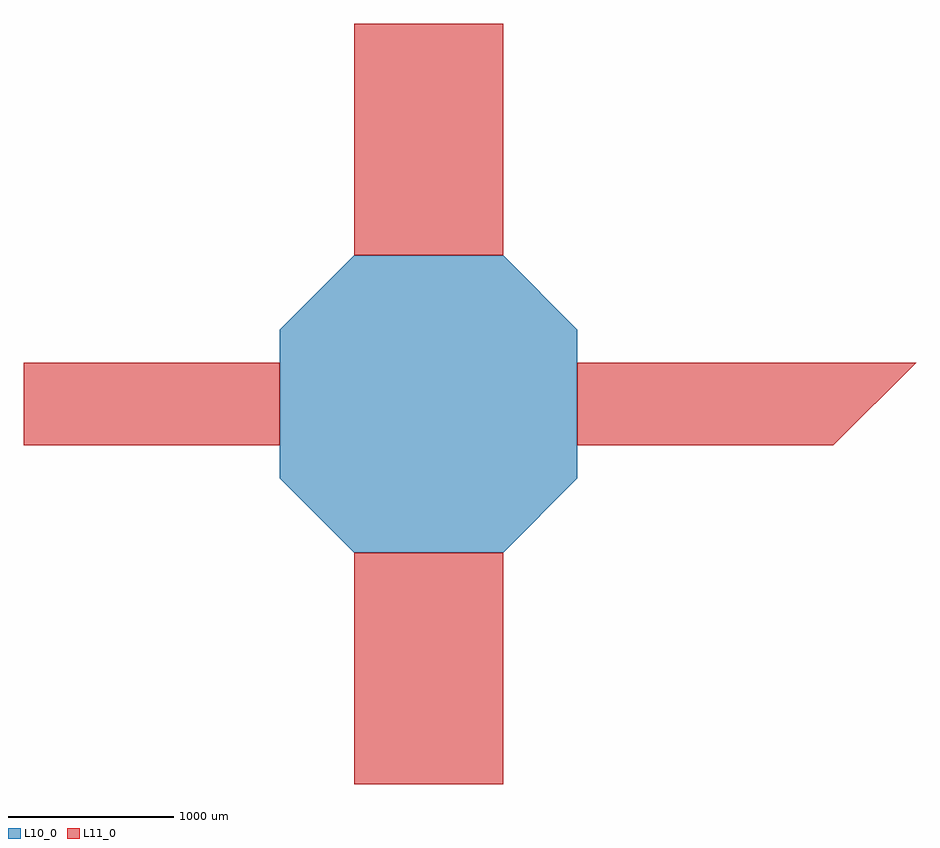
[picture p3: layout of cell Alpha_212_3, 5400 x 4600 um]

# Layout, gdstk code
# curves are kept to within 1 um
import gdstk
lib = gdstk.Library(unit=1e-6, precision=1e-09)
def R(c, l, rs):  # rectangles x0, y0, x1, y1
    for r in rs: c.add(gdstk.rectangle(r[:2], r[2:], *l))
def P(c, l, *ps):  # polygons
    for p in ps: c.add(gdstk.Polygon(p, *l))
L1_0 = (1, 0)
L10_0 = (10, 0)
L11_0 = (11, 0)

alpha_212_3 = lib.new_cell('Alpha_212_3')
P(alpha_212_3, L10_0, [(-450,900),(450,900),(900,450),(900,-450),(450,-900),(-450,-900),(-900,-450),(-900,450)],
  [(850,80),(830,170),(790,330),(710,470),(660,540),(540,660),(470,710),(330,790),(250,810),(170,840),(80,850),(-80,850),(-170,840),(-250,810),(-330,790),(-470,710),(-540,660),(-660,540),(-710,470),(-790,330),(-810,250),(-840,170),(-850,80),(-850,-80),(-840,-170),(-810,-250),(-790,-330),(-710,-470),(-660,-540),(-540,-660),(-470,-710),(-330,-790),(-250,-810),(-170,-840),(-80,-850),(80,-850),(170,-840),(250,-810),(330,-790),(470,-710),(540,-660),(660,-540),(710,-470),(790,-330),(830,-170),(850,-80)])
R(alpha_212_3, L11_0, [(-450,-2300,450,-900), (-2450,-250,-900,250), (-450,900,450,2300)])
P(alpha_212_3, L11_0, [(900,-250),(2450,-250),(2950,250),(900,250)])
alpha_212_3.add(gdstk.FlexPath([(950,250),(950,-250)], 0, ends="round", simple_path=True, layer=1, datatype=0))  # L1_0
alpha_212_3.add(gdstk.FlexPath([(-450,950),(450,950)], 0, ends="round", simple_path=True, layer=1, datatype=0))  # L1_0
alpha_212_3.add(gdstk.FlexPath([(-950,-250),(-950,250)], 0, ends="round", simple_path=True, layer=1, datatype=0))  # L1_0

lib.write_gds('Alpha_212_3.gds')
